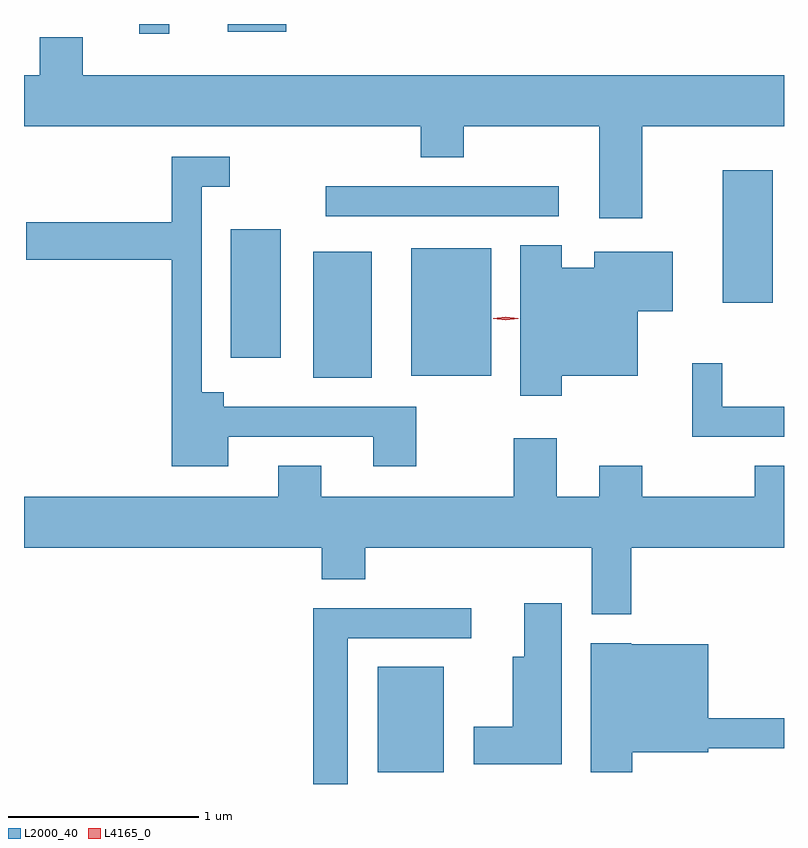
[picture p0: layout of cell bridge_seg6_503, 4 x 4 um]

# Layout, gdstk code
import gdstk
lib = gdstk.Library(unit=1e-6, precision=1e-09)
def R(c, l, rs):  # rectangles x0, y0, x1, y1
    for r in rs: c.add(gdstk.rectangle(r[:2], r[2:], *l))
def P(c, l, *ps):  # polygons
    for p in ps: c.add(gdstk.Polygon(p, *l))
L2000_40 = (2000, 40)
L4165_0 = (4165, 0)

bridge_seg6_503 = lib.new_cell('bridge_seg6_503')
R(bridge_seg6_503, L2000_40, [(601.546,1664.296,601.894,1664.849), (601.206,1666.371,601.514,1667.034), (601.721,1666.381,602.144,1667.054), (600.771,1666.476,601.034,1667.154), (603.361,1666.766,603.624,1667.464), (601.273,1667.221,602.498,1667.379), (600.291,1668.183,600.449,1668.233), (600.756,1668.191,601.064,1668.233)])
P(bridge_seg6_503, L2000_40, [(602.939,1667.696),(603.684,1667.696),(603.684,1667.964),(599.994,1667.964),(599.994,1668.164),(599.766,1668.164),(599.766,1667.964),(599.684,1667.964),(599.684,1667.696),(601.771,1667.696),(601.771,1667.531),(601.999,1667.531),(601.999,1667.696),(602.711,1667.696),(602.711,1667.211),(602.939,1667.211)],
  [(600.759,1666.061),(601.521,1666.061),(601.521,1665.906),(601.749,1665.906),(601.749,1666.219),(600.734,1666.219),(600.734,1666.294),(600.619,1666.294),(600.619,1667.376),(600.768,1667.376),(600.768,1667.534),(600.461,1667.534),(600.461,1667.189),(599.696,1667.189),(599.696,1666.991),(600.461,1666.991),(600.461,1665.906),(600.759,1665.906)],
  [(602.514,1666.381),(602.914,1666.381),(602.914,1666.721),(603.099,1666.721),(603.099,1667.034),(602.686,1667.034),(602.686,1666.949),(602.514,1666.949),(602.514,1667.069),(602.296,1667.069),(602.296,1666.276),(602.514,1666.276)],
  [(603.684,1666.219),(603.359,1666.219),(603.359,1666.448),(603.201,1666.448),(603.201,1666.061),(603.684,1666.061)],
  [(602.879,1665.476),(603.684,1665.476),(603.684,1665.909),(603.531,1665.909),(603.531,1665.744),(602.939,1665.744),(602.939,1665.909),(602.711,1665.909),(602.711,1665.744),(602.489,1665.744),(602.489,1666.054),(602.261,1666.054),(602.261,1665.744),(601.249,1665.744),(601.249,1665.909),(601.021,1665.909),(601.021,1665.744),(599.684,1665.744),(599.684,1665.476),(601.251,1665.476),(601.251,1665.311),(601.479,1665.311),(601.479,1665.476),(602.671,1665.476),(602.671,1665.126),(602.879,1665.126)],
  [(602.514,1665.184),(602.316,1665.184),(602.316,1664.904),(602.256,1664.904),(602.256,1664.534),(602.051,1664.534),(602.051,1664.336),(602.514,1664.336)],
  [(601.389,1665.001),(602.038,1665.001),(602.038,1665.159),(601.206,1665.159),(601.206,1664.233),(601.389,1664.233)],
  [(602.884,1664.401),(603.284,1664.401),(603.284,1664.421),(603.684,1664.421),(603.684,1664.579),(603.284,1664.579),(603.284,1664.969),(602.88,1664.969),(602.88,1664.974),(602.666,1664.974),(602.666,1664.296),(602.884,1664.296)])
P(bridge_seg6_503, L4165_0, [(602.22,1666.673),(602.154,1666.682),(602.154,1666.683),(602.154,1666.684),(602.22,1666.693),(602.285,1666.684),(602.286,1666.683),(602.285,1666.682)])

lib.write_gds('bridge_seg6_503.gds')
